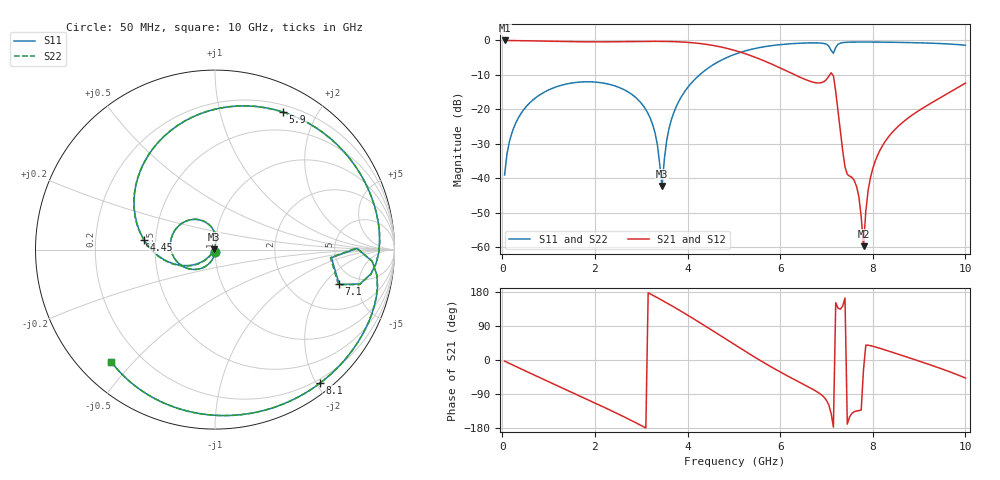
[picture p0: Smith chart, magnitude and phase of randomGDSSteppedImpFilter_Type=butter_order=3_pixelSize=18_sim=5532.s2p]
! freq	dB(S11)	phase(S11)	dB(S12)	phase(S12)
!  dB(S21)	phase(S21)	dB(S22)	phase(S22)
!S-par simulation data
#  GHz  S  DB  R 50
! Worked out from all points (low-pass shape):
!   200 points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, 50 MHz to 10 GHz, reference 50 ohm
!   highest |S21| = -0.01 dB at 50 MHz (marker M1); lowest = -59.7 dB at 7.8 GHz (marker M2)
!   |S21| within 3 dB of the highest: start of sweep to 5.046 GHz
!   lowest |S11| = -42.2 dB at 3.45 GHz (marker M3), VSWR 1.02, Z = 49.3 + j0.192 ohm
!   |S11| at or under -10 dB: start of sweep to 4.259 GHz
!   |S22| runs from -44.6 to -0.5 dB; largest |S21 - S12| = 0
!   S11 on the Smith chart (normalised r, x): 50 MHz: 1.00, -0.02; 4.45 GHz: 0.43, +0.06; 5.9 GHz: 0.28, +1.57; 7.1 GHz: 3.66, -2.93; 8.1 GHz: 0.14, -2.05; 10 GHz: 0.10, -0.43
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0.05  -39.02 -92.3  -0.01 -2.9  -0.01 -2.9  -39.01 -92.3
0.2  -27.12 -101.5  -0.03 -11.6  -0.03 -11.6  -27.11 -101.6
0.5  -19.46 -119.3  -0.09 -28.9  -0.09 -28.9  -19.47 -119.3
1.75  -12.02 170.2  -0.40 -99.3  -0.40 -99.3  -12.02 170.0
2.95  -17.44 101.3  -0.30 -169.8  -0.30 -169.8  -17.46 100.5
3.25  -24.53 85.5  -0.27 170.9  -0.27 170.9  -24.57 83.3
3.4  -36.02 94.6  -0.27 160.9  -0.27 160.9  -36.49 86.0
3.45  -42.23 165.4  -0.28 157.6  -0.28 157.6  -44.62 166.0
3.55  -29.01 -131.4  -0.30 150.7  -0.30 150.7  -29.11 -127.4
3.7  -21.05 -135.5  -0.35 140.2  -0.35 140.2  -21.07 -133.9
4.45  -7.98 172.1  -1.23 84.4  -1.23 84.4  -7.98 172.5
5.05  -3.88 126.0  -3.02 37.8  -3.02 37.8  -3.88 126.2
5.9  -1.36 63.8  -7.36 -24.6  -7.36 -24.6  -1.36 63.8
6.7  -0.70 12.3  -12.07 -77.0  -12.07 -77.0  -0.70 12.2
7.1  -2.87 -15.6  -9.39 -140.6  -9.39 -140.6  -2.90 -15.9
7.4  -0.56 -16.4  -36.66 163.6  -36.66 163.6  -0.57 -16.4
7.7  -0.46 -33.1  -45.34 -133.7  -45.34 -133.7  -0.46 -33.1
7.8  -0.46 -38.0  -59.68 -24.9  -59.68 -24.9  -0.46 -38.0
7.9  -0.46 -42.7  -43.44 39.0  -43.44 39.0  -0.46 -42.7
8.1  -0.48 -51.7  -33.43 32.8  -33.43 32.8  -0.48 -51.7
8.35  -0.52 -62.5  -27.80 23.3  -27.80 23.3  -0.52 -62.5
10  -1.40 -132.8  -12.39 -47.6  -12.39 -47.6  -1.40 -132.8
